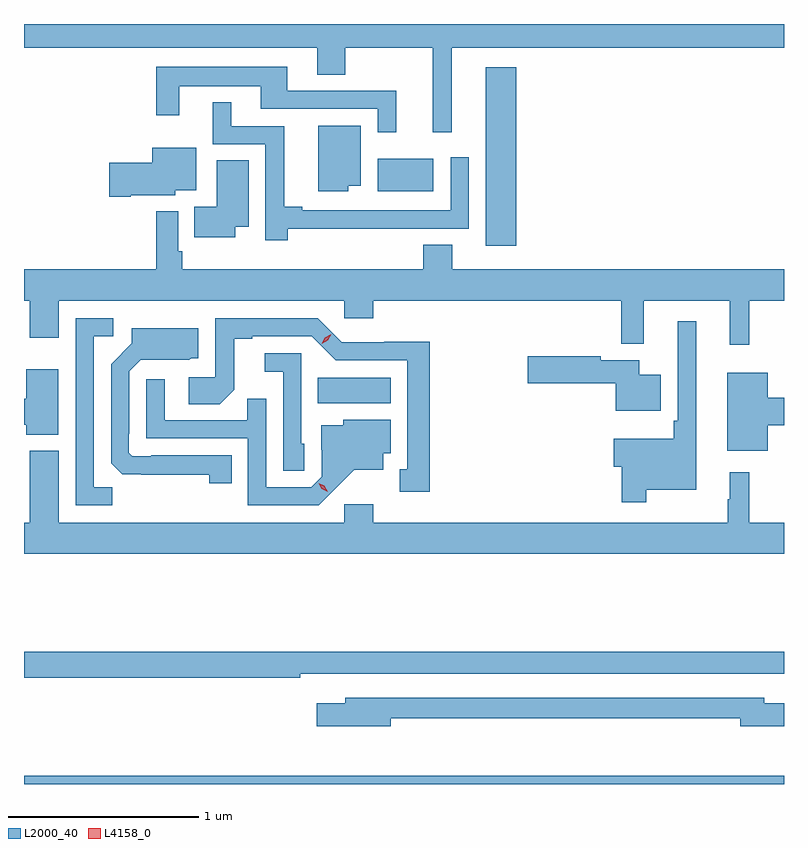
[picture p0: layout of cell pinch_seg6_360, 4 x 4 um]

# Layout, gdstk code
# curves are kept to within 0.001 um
import gdstk
lib = gdstk.Library(unit=1e-6, precision=1e-09)
def R(c, l, rs):  # rectangles x0, y0, x1, y1
    for r in rs: c.add(gdstk.rectangle(r[:2], r[2:], *l))
def P(c, l, *ps):  # polygons
    for p in ps: c.add(gdstk.Polygon(p, *l))
L2000_40 = (2000, 40)
L4158_0 = (4158, 0)

pinch_seg6_360 = lib.new_cell('pinch_seg6_360')
R(pinch_seg6_360, L2000_40, [(664.405,947.456,668.405,947.5), (665.95,949.46,666.334,949.594), (666.836,950.289,666.995,951.229), (666.266,950.576,666.559,950.746)])
P(pinch_seg6_360, L2000_40, [(666.656,951.332),(668.405,951.332),(668.405,951.456),(664.405,951.456),(664.405,951.332),(665.948,951.332),(665.948,951.19),(666.096,951.19),(666.096,951.332),(666.557,951.332),(666.557,950.886),(666.656,950.886)],
  [(666.365,951.105),(665.791,951.105),(665.791,951.232),(665.1,951.232),(665.1,950.976),(665.221,950.976),(665.221,951.128),(665.651,951.128),(665.651,951.009),(666.267,951.009),(666.267,950.886),(666.365,950.886)],
  [(665.792,950.378),(666.422,950.378),(666.422,950.379),(666.747,950.379),(666.747,950.755),(666.651,950.755),(666.651,950.475),(665.869,950.475),(665.869,950.495),(665.774,950.495),(665.774,950.919),(665.497,950.919),(665.497,951.043),(665.399,951.043),(665.399,950.823),(665.676,950.823),(665.676,950.319),(665.792,950.319)],
  [(666.112,950.606),(666.178,950.606),(666.178,950.92),(665.954,950.92),(665.954,950.576),(666.112,950.576)],
  [(664.966,950.555),(665.202,950.555),(665.202,950.582),(665.311,950.582),(665.311,950.806),(665.081,950.806),(665.081,950.726),(664.854,950.726),(664.854,950.548),(664.966,950.548)],
  [(665.518,950.39),(665.587,950.39),(665.587,950.738),(665.42,950.738),(665.42,950.494),(665.302,950.494),(665.302,950.333),(665.518,950.333)],
  [(668.222,950),(668.405,950),(668.405,950.164),(666.658,950.164),(666.658,950.294),(666.506,950.294),(666.506,950.164),(665.237,950.164),(665.237,950.26),(665.217,950.26),(665.217,950.47),(665.101,950.47),(665.101,950.164),(664.405,950.164),(664.405,950),(664.436,950),(664.436,949.806),(664.588,949.806),(664.588,950),(666.09,950),(666.09,949.907),(666.242,949.907),(666.242,950),(667.549,950),(667.549,949.772),(667.667,949.772),(667.667,950),(668.12,950),(668.12,949.767),(668.222,949.767)],
  [(666.541,949.784),(666.3,949.784),(666.3,949.782),(666.078,949.782),(665.952,949.908),(665.412,949.908),(665.412,949.596),(665.271,949.596),(665.271,949.456),(665.435,949.456),(665.511,949.532),(665.511,949.8),(665.605,949.8),(665.605,949.812),(665.919,949.812),(666.045,949.686),(666.422,949.686),(666.422,949.113),(666.383,949.113),(666.383,948.993),(666.541,948.993)],
  [(664.869,949.019),(664.773,949.019),(664.773,949.812),(664.876,949.812),(664.876,949.908),(664.677,949.908),(664.677,948.924),(664.869,948.924)],
  [(667.681,949.004),(667.942,949.004),(667.942,949.891),(667.845,949.891),(667.845,949.369),(667.825,949.369),(667.825,949.273),(667.508,949.273),(667.508,949.126),(667.552,949.126),(667.552,948.939),(667.681,948.939)],
  [(665.498,949.185),(665.074,949.185),(665.074,949.182),(664.974,949.182),(664.956,949.2),(664.956,949.3),(664.959,949.3),(664.959,949.629),(665.019,949.689),(665.276,949.688),(665.285,949.697),(665.323,949.697),(665.323,949.855),(664.973,949.855),(664.973,949.776),(664.863,949.666),(664.863,949.144),(664.922,949.085),(665.38,949.084),(665.38,949.038),(665.498,949.038)],
  [(665.88,949.248),(665.865,949.248),(665.865,949.722),(665.673,949.722),(665.673,949.625),(665.769,949.625),(665.769,949.105),(665.88,949.105)],
  [(667.756,949.609),(667.642,949.609),(667.642,949.687),(667.44,949.687),(667.44,949.707),(667.056,949.707),(667.056,949.565),(667.52,949.565),(667.52,949.421),(667.756,949.421)],
  [(664.585,949.639),(664.418,949.639),(664.418,949.484),(664.405,949.484),(664.405,949.348),(664.418,949.348),(664.418,949.295),(664.585,949.295)],
  [(668.32,949.343),(668.405,949.343),(668.405,949.49),(668.32,949.49),(668.32,949.621),(668.105,949.621),(668.105,949.211),(668.32,949.211)],
  [(666.04,949.007),(666.143,949.109),(666.295,949.109),(666.295,949.196),(666.334,949.196),(666.334,949.372),(666.084,949.372),(666.084,949.345),(665.969,949.345),(665.969,949.216),(665.973,949.216),(665.973,949.074),(665.916,949.017),(665.679,949.017),(665.679,949.484),(665.581,949.484),(665.581,949.371),(665.145,949.371),(665.145,949.585),(665.049,949.585),(665.049,949.275),(665.583,949.275),(665.583,948.924),(665.956,948.924)],
  [(668.405,948.832),(668.222,948.832),(668.222,949.096),(668.12,949.096),(668.12,948.956),(668.109,948.956),(668.109,948.832),(666.242,948.832),(666.242,948.928),(666.09,948.928),(666.09,948.832),(664.588,948.832),(664.588,949.21),(664.436,949.21),(664.436,948.832),(664.405,948.832),(664.405,948.668),(668.405,948.668)],
  [(665.858,948.036),(668.398,948.036),(668.398,948.035),(668.405,948.035),(668.405,948.152),(664.405,948.152),(664.405,948.016),(665.858,948.016)],
  [(666.334,947.802),(668.174,947.802),(668.174,947.759),(668.405,947.759),(668.405,947.881),(668.302,947.881),(668.302,947.91),(666.095,947.91),(666.095,947.881),(665.946,947.881),(665.946,947.759),(666.334,947.759)])
P(pinch_seg6_360, L4158_0, [(665.972,949.772),(665.972,949.773),(665.989,949.805),(666.021,949.824),(666.021,949.824),(666.021,949.824),(666.004,949.791),(665.972,949.772)],
  [(666.003,948.995),(665.973,949.01),(665.956,949.039),(665.956,949.04),(665.956,949.04),(665.986,949.025),(666.003,948.995),(666.003,948.995)])

lib.write_gds('pinch_seg6_360.gds')
